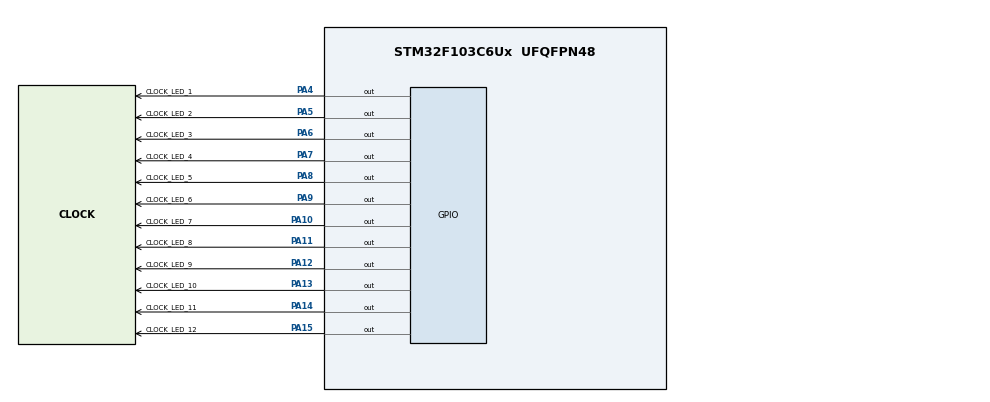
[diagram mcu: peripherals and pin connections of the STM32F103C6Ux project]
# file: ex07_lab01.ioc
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Mcu.Family=STM32F1
Mcu.Name=STM32F103C6Ux
Mcu.Package=UFQFPN48
NVIC.PriorityGroup=NVIC_PRIORITYGROUP_4
PA10.GPIO_Label=CLOCK_LED_7
PA10.PinState=GPIO_PIN_SET
PA10.Signal=GPIO_Output
PA11.GPIO_Label=CLOCK_LED_8
PA11.PinState=GPIO_PIN_SET
PA11.Signal=GPIO_Output
PA12.GPIO_Label=CLOCK_LED_9
PA12.PinState=GPIO_PIN_SET
PA12.Signal=GPIO_Output
PA13.GPIO_Label=CLOCK_LED_10
PA13.PinState=GPIO_PIN_SET
PA13.Signal=GPIO_Output
PA14.GPIO_Label=CLOCK_LED_11
PA14.PinState=GPIO_PIN_SET
PA14.Signal=GPIO_Output
PA15.GPIO_Label=CLOCK_LED_12
PA15.PinState=GPIO_PIN_SET
PA15.Signal=GPIO_Output
PA4.GPIO_Label=CLOCK_LED_1
PA4.PinState=GPIO_PIN_SET
PA4.Signal=GPIO_Output
PA5.GPIO_Label=CLOCK_LED_2
PA5.PinState=GPIO_PIN_SET
PA5.Signal=GPIO_Output
PA6.GPIO_Label=CLOCK_LED_3
PA6.GPIO_Speed=GPIO_SPEED_FREQ_LOW
PA6.PinState=GPIO_PIN_SET
PA6.Signal=GPIO_Output
PA7.GPIO_Label=CLOCK_LED_4
PA7.PinState=GPIO_PIN_SET
PA7.Signal=GPIO_Output
PA8.GPIO_Label=CLOCK_LED_5
PA8.PinState=GPIO_PIN_SET
PA8.Signal=GPIO_Output
PA9.GPIO_Label=CLOCK_LED_6
PA9.PinState=GPIO_PIN_SET
PA9.Signal=GPIO_Output
ProjectManager.HeapSize=0x200
ProjectManager.StackSize=0x400
ProjectManager.TargetToolchain=CMake
RCC.APB1Freq_Value=8000000
RCC.APB2Freq_Value=8000000
VP_SYS_VS_ND.Mode=No_Debug
board=custom

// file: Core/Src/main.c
/* USER CODE BEGIN Header */
/**
  ******************************************************************************
  * @file           : main.c
  * @brief          : Main program body
  ******************************************************************************
  * @attention
  *
  * Copyright (c) 2026 STMicroelectronics.
  * All rights reserved.
  *
  * This software is licensed under terms that can be found in the LICENSE file
  * in the root directory of this software component.
  * If no LICENSE file comes with this software, it is provided AS-IS.
  *
  ******************************************************************************
  */
/* USER CODE END Header */
#include "main.h"

void SystemClock_Config(void);
static void MX_GPIO_Init(void);
/* USER CODE BEGIN PFP */

void testClockLED(uint16_t pin, uint32_t delay_ms);
void clearAllClock(void);
void setNumberOnClock(int num);
void clearNumberOnClock(int num);

/* USER CODE END PFP */

/* USER CODE BEGIN 0 */

void testClockLED(uint16_t pin, uint32_t delay_ms)
{
    /* Active-low: logic 0 turns the selected LED on */
    HAL_GPIO_WritePin(GPIOA, pin, GPIO_PIN_RESET);

    /* Keep the selected LED on */
    HAL_Delay(delay_ms);

    /* Active-low: logic 1 turns the selected LED off */
    HAL_GPIO_WritePin(GPIOA, pin, GPIO_PIN_SET);
}

void clearAllClock(void)
{
    HAL_GPIO_WritePin(
        GPIOA,
        CLOCK_LED_1_Pin  | CLOCK_LED_2_Pin  |
        CLOCK_LED_3_Pin  | CLOCK_LED_4_Pin  |
        CLOCK_LED_5_Pin  | CLOCK_LED_6_Pin  |
        CLOCK_LED_7_Pin  | CLOCK_LED_8_Pin  |
        CLOCK_LED_9_Pin  | CLOCK_LED_10_Pin |
        CLOCK_LED_11_Pin | CLOCK_LED_12_Pin,
        GPIO_PIN_SET
    );
}

void setNumberOnClock(int num)
{
    switch (num)
    {
        case 0:
            /* Position 0 means 12 o'clock */
            HAL_GPIO_WritePin(
                GPIOA,
                CLOCK_LED_12_Pin,
                GPIO_PIN_RESET
            );
            break;

        case 1:
            HAL_GPIO_WritePin(
                GPIOA,
                CLOCK_LED_1_Pin,
                GPIO_PIN_RESET
            );
            break;

        case 2:
            HAL_GPIO_WritePin(
                GPIOA,
                CLOCK_LED_2_Pin,
                GPIO_PIN_RESET
            );
            break;

        case 3:
            HAL_GPIO_WritePin(
                GPIOA,
                CLOCK_LED_3_Pin,
                GPIO_PIN_RESET
            );
            break;

        case 4:
            HAL_GPIO_WritePin(
                GPIOA,
                CLOCK_LED_4_Pin,
                GPIO_PIN_RESET
            );
            break;

        case 5:
            HAL_GPIO_WritePin(
                GPIOA,
                CLOCK_LED_5_Pin,
                GPIO_PIN_RESET
            );
            break;

        case 6:
            HAL_GPIO_WritePin(
                GPIOA,
                CLOCK_LED_6_Pin,
                GPIO_PIN_RESET
            );
            break;

        case 7:
            HAL_GPIO_WritePin(
                GPIOA,
                CLOCK_LED_7_Pin,
                GPIO_PIN_RESET
            );
            break;

        case 8:
            HAL_GPIO_WritePin(
                GPIOA,
                CLOCK_LED_8_Pin,
                GPIO_PIN_RESET
            );
            break;

        case 9:
            HAL_GPIO_WritePin(
                GPIOA,
                CLOCK_LED_9_Pin,
                GPIO_PIN_RESET
            );
            break;

        case 10:
            HAL_GPIO_WritePin(
                GPIOA,
                CLOCK_LED_10_Pin,
                GPIO_PIN_RESET
            );
            break;

        case 11:
            HAL_GPIO_WritePin(
                GPIOA,
                CLOCK_LED_11_Pin,
                GPIO_PIN_RESET
            );
            break;

        default:
            break;
    }
}

void clearNumberOnClock(int num)
{
    switch (num)
    {
        case 0:
            /* Position 0 means 12 o'clock */
            HAL_GPIO_WritePin(
                GPIOA,
                CLOCK_LED_12_Pin,
                GPIO_PIN_SET
            );
            break;

        case 1:
            HAL_GPIO_WritePin(
                GPIOA,
                CLOCK_LED_1_Pin,
                GPIO_PIN_SET
            );
            break;

        case 2:
            HAL_GPIO_WritePin(
                GPIOA,
                CLOCK_LED_2_Pin,
                GPIO_PIN_SET
            );
            break;

        case 3:
            HAL_GPIO_WritePin(
                GPIOA,
                CLOCK_LED_3_Pin,
                GPIO_PIN_SET
            );
            break;

        case 4:
            HAL_GPIO_WritePin(
                GPIOA,
                CLOCK_LED_4_Pin,
                GPIO_PIN_SET
            );
            break;

        case 5:
            HAL_GPIO_WritePin(
                GPIOA,
                CLOCK_LED_5_Pin,
                GPIO_PIN_SET
            );
            break;

        case 6:
            HAL_GPIO_WritePin(
                GPIOA,
                CLOCK_LED_6_Pin,
                GPIO_PIN_SET
            );
            break;

        case 7:
            HAL_GPIO_WritePin(
                GPIOA,
                CLOCK_LED_7_Pin,
                GPIO_PIN_SET
            );
            break;

        case 8:
            HAL_GPIO_WritePin(
                GPIOA,
                CLOCK_LED_8_Pin,
                GPIO_PIN_SET
            );
            break;

        case 9:
            HAL_GPIO_WritePin(
                GPIOA,
                CLOCK_LED_9_Pin,
                GPIO_PIN_SET
            );
            break;

        case 10:
            HAL_GPIO_WritePin(
                GPIOA,
                CLOCK_LED_10_Pin,
                GPIO_PIN_SET
            );
            break;

        case 11:
            HAL_GPIO_WritePin(
                GPIOA,
                CLOCK_LED_11_Pin,
                GPIO_PIN_SET
            );
            break;

        default:
            break;
    }
}

/* USER CODE END 0 */

int main(void)
{

  /* USER CODE BEGIN 1 */
  /* Initial simulation time: 10:25:40 */
  int hour = 10;
  int minute = 25;
  int second = 40;

  int hour_position;
  int minute_position;
  int second_position;
  /* USER CODE END 1 */

  /* MCU Configuration--------------------------------------------------------*/

  /* Reset of all peripherals, Initializes the Flash interface and the Systick. */
  HAL_Init();

  /* Configure the system clock */
  SystemClock_Config();

  /* Initialize all configured peripherals */
  MX_GPIO_Init();
  /* USER CODE BEGIN 2 */

    /* Turn all clock LEDs off before starting */
    clearAllClock();

  /* USER CODE END 2 */

  /* Infinite loop */
  /* USER CODE BEGIN WHILE */
    while (1)
  {
    /*
     * Convert the current time into
     * clock positions from 0 to 11.
     */
    hour_position = hour % 12;
    minute_position = minute / 5;
    second_position = second / 5;

    /*
     * Display the hour, minute and second positions.
     */
    setNumberOnClock(hour_position);
    setNumberOnClock(minute_position);
    setNumberOnClock(second_position);

    /* Keep the current time displayed for one second. */
    HAL_Delay(1000);

    /*
     * Turn off the three current positions
     * before calculating the next time.
     */
    clearNumberOnClock(hour_position);
    clearNumberOnClock(minute_position);
    clearNumberOnClock(second_position);

    /* Increase the time by one second. */
    second++;

    /* Handle the transition from 59 to 0 seconds. */
    if (second >= 60)
    {
        second = 0;
        minute++;

        /* Handle the transition from 59 to 0 minutes. */
        if (minute >= 60)
        {
            minute = 0;
            hour++;

            /* Restart after 23:59:59. */
            if (hour >= 24)
            {
                hour = 0;
            }
        }
    }
  }
  /* USER CODE END 3 */
}

void SystemClock_Config(void)
{
  RCC_OscInitTypeDef RCC_OscInitStruct = {0};
  RCC_ClkInitTypeDef RCC_ClkInitStruct = {0};

  /** Initializes the RCC Oscillators according to the specified parameters
  * in the RCC_OscInitTypeDef structure.
  */
  RCC_OscInitStruct.OscillatorType = RCC_OSCILLATORTYPE_HSI;
  RCC_OscInitStruct.HSIState = RCC_HSI_ON;
  RCC_OscInitStruct.HSICalibrationValue = RCC_HSICALIBRATION_DEFAULT;
  RCC_OscInitStruct.PLL.PLLState = RCC_PLL_NONE;
  if (HAL_RCC_OscConfig(&RCC_OscInitStruct) != HAL_OK)
  {
    Error_Handler();
  }

  /** Initializes the CPU, AHB and APB buses clocks
  */
  RCC_ClkInitStruct.ClockType = RCC_CLOCKTYPE_HCLK|RCC_CLOCKTYPE_SYSCLK
                              |RCC_CLOCKTYPE_PCLK1|RCC_CLOCKTYPE_PCLK2;
  RCC_ClkInitStruct.SYSCLKSource = RCC_SYSCLKSOURCE_HSI;
  RCC_ClkInitStruct.AHBCLKDivider = RCC_SYSCLK_DIV1;
  RCC_ClkInitStruct.APB1CLKDivider = RCC_HCLK_DIV1;
  RCC_ClkInitStruct.APB2CLKDivider = RCC_HCLK_DIV1;

  if (HAL_RCC_ClockConfig(&RCC_ClkInitStruct, FLASH_LATENCY_0) != HAL_OK)
  {
    Error_Handler();
  }
}

static void MX_GPIO_Init(void)
{
  GPIO_InitTypeDef GPIO_InitStruct = {0};

  /* GPIO Ports Clock Enable */
  __HAL_RCC_GPIOA_CLK_ENABLE();

  /*Configure GPIO pin Output Level */
  HAL_GPIO_WritePin(GPIOA, CLOCK_LED_1_Pin|CLOCK_LED_2_Pin|CLOCK_LED_3_Pin|CLOCK_LED_4_Pin
                          |CLOCK_LED_5_Pin|CLOCK_LED_6_Pin|CLOCK_LED_7_Pin|CLOCK_LED_8_Pin
                          |CLOCK_LED_9_Pin|CLOCK_LED_10_Pin|CLOCK_LED_11_Pin|CLOCK_LED_12_Pin, GPIO_PIN_SET);

  /*Configure GPIO pins : CLOCK_LED_1_Pin CLOCK_LED_2_Pin CLOCK_LED_3_Pin CLOCK_LED_4_Pin
                           CLOCK_LED_5_Pin CLOCK_LED_6_Pin CLOCK_LED_7_Pin CLOCK_LED_8_Pin
                           CLOCK_LED_9_Pin CLOCK_LED_10_Pin CLOCK_LED_11_Pin CLOCK_LED_12_Pin */
  GPIO_InitStruct.Pin = CLOCK_LED_1_Pin|CLOCK_LED_2_Pin|CLOCK_LED_3_Pin|CLOCK_LED_4_Pin
                          |CLOCK_LED_5_Pin|CLOCK_LED_6_Pin|CLOCK_LED_7_Pin|CLOCK_LED_8_Pin
                          |CLOCK_LED_9_Pin|CLOCK_LED_10_Pin|CLOCK_LED_11_Pin|CLOCK_LED_12_Pin;
  GPIO_InitStruct.Mode = GPIO_MODE_OUTPUT_PP;
  GPIO_InitStruct.Pull = GPIO_NOPULL;
  GPIO_InitStruct.Speed = GPIO_SPEED_FREQ_LOW;
  HAL_GPIO_Init(GPIOA, &GPIO_InitStruct);

}

void Error_Handler(void)
{
  __disable_irq();
  while (1)
  {
  }
}
